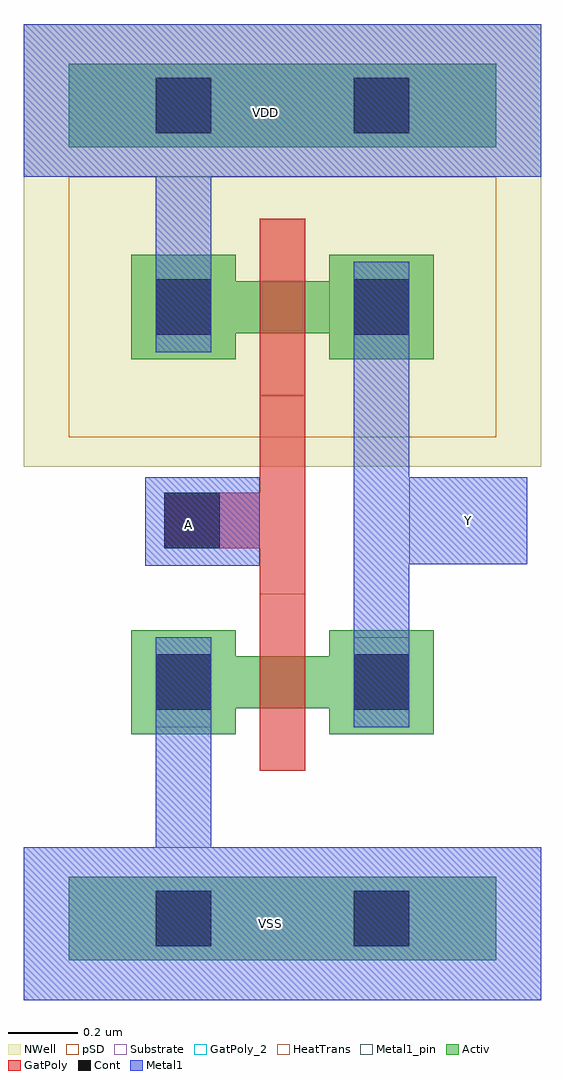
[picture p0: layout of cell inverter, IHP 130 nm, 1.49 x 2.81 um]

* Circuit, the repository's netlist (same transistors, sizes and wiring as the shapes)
.SUBCKT inverter A VDD VSS Y
*.PININFO A:I Y:O VDD:B VSS:B
MX1 Y A VSS VSS sg13_lv_nmos m=1 w=150.00n l=130.00n ng=1
MX0 Y A VDD VDD sg13_lv_pmos m=1 w=150.00n l=130.00n ng=1
.ENDS

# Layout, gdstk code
from math import pi, radians
import gdstk
lib = gdstk.Library(unit=1e-6, precision=1e-09)
def R(c, l, rs):  # rectangles x0, y0, x1, y1
    for r in rs: c.add(gdstk.rectangle(r[:2], r[2:], *l))
Activ = (1, 0)
GatPoly = (5, 0)
GatPoly_2 = (5, 2)
Cont = (6, 0)
Metal1 = (8, 0)
Metal1_pin = (8, 2)
pSD = (14, 0)
NWell = (31, 0)
Substrate = (40, 0)
HeatTrans = (51, 0)

pmos = lib.new_cell('pmos')
R(pmos, Activ, [(0,0,0.3,0.3), (0.57,0,0.87,0.3), (0,0.075,0.87,0.225)])
R(pmos, GatPoly, [(0.37,-0.105,0.5,0.405), (0.37,-0.105,0.5,0.405)])
R(pmos, Cont, [(0.07,0.07,0.23,0.23), (0.64,0.07,0.8,0.23)])
R(pmos, Metal1, [(0.07,0.02,0.23,0.28), (0.07,0.02,0.23,0.28), (0.64,0.02,0.8,0.28), (0.64,0.02,0.8,0.28)])
R(pmos, pSD, [(-0.18,-0.225,1.05,0.525)])
R(pmos, NWell, [(-0.31,-0.31,1.18,0.61)])
R(pmos, Substrate, [(0.57,0,0.87,0.3)])
R(pmos, HeatTrans, [(0.37,-0.105,0.5,0.405)])
pmos.add(gdstk.Label('pmos', (0.435,0.15), layer=63, texttype=0))
pmos.add(gdstk.Label('pmos', (0.435,0.15), layer=51, texttype=0))

nmos = lib.new_cell('nmos')
R(nmos, Activ, [(0,0,0.3,0.3), (0.57,0,0.87,0.3), (0,0.075,0.87,0.225)])
R(nmos, GatPoly, [(0.37,-0.105,0.5,0.405)])
R(nmos, GatPoly_2, [(0.37,-0.105,0.5,0.405)])
R(nmos, Cont, [(0.07,0.07,0.23,0.23), (0.64,0.07,0.8,0.23)])
R(nmos, Metal1, [(0.07,0.02,0.23,0.28), (0.64,0.02,0.8,0.28)])
R(nmos, Metal1_pin, [(0.07,0.02,0.23,0.28), (0.64,0.02,0.8,0.28)])
R(nmos, HeatTrans, [(0.37,-0.105,0.5,0.405)])
nmos.add(gdstk.Label('nmos', (0.435,0.15), layer=63, texttype=0))
nmos.add(gdstk.Label('nmos', (0.435,0.15), layer=51, texttype=0))

inverter = lib.new_cell('inverter')
R(inverter, Activ, [(-0.57,-1.09,0.66,-0.85), (-0.57,1.25,0.66,1.49)])
R(inverter, GatPoly, [(-0.02,-0.035,0.11,0.535), (-0.295,0.095,-0.02,0.255)])
R(inverter, Cont, [(-0.32,-1.05,-0.16,-0.89), (0.25,-1.05,0.41,-0.89), (-0.295,0.095,-0.135,0.255), (-0.32,1.29,-0.16,1.45), (0.25,1.29,0.41,1.45)])
R(inverter, Metal1, [(-0.7,-1.205,0.79,-0.765), (-0.32,-0.765,-0.16,-0.42), (0.25,-0.16,0.41,0.66), (-0.35,0.045,-0.02,0.3), (0.41,0.05,0.75,0.3), (-0.32,0.92,-0.16,1.165), (-0.7,1.165,0.79,1.605)])
R(inverter, Metal1_pin, [(-0.7,-1.205,0.79,-0.765), (-0.35,0.045,-0.02,0.3), (0.41,0.05,0.75,0.3), (-0.7,1.165,0.79,1.605)])
R(inverter, pSD, [(-0.7,-1.205,0.79,-0.765)])
R(inverter, NWell, [(-0.7,1.25,0.79,1.605)])
inverter.add(gdstk.Reference(pmos, (-0.39,0.64)))
inverter.add(gdstk.Reference(nmos, (0.48,-0.14), rotation=pi))
inverter.add(gdstk.Label('VDD', (-0.005,1.35), layer=5, texttype=0))
inverter.add(gdstk.Label('VSS', (0.01,-0.985), layer=5, texttype=0))
inverter.add(gdstk.Label('A', (-0.225,0.165), layer=5, texttype=0))
inverter.add(gdstk.Label('Y', (0.58,0.175), layer=5, texttype=0))

lib.write_gds('inverter.gds')
